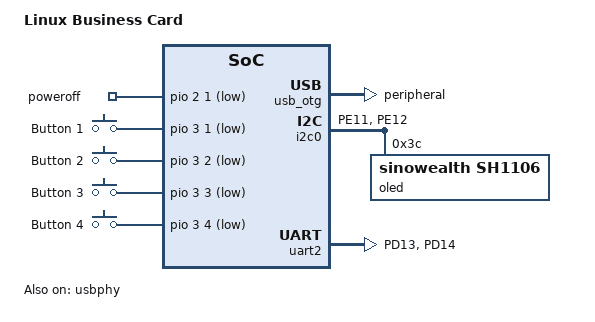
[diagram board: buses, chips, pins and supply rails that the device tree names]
// SPDX-License-Identifier: (GPL-2.0+ OR X11)
// Board-specific overrides for the upstream Linux 6.18 F1C100S Nano DTS.
/*
 * Copyright 2018 Icenowy Zheng <icenowy@aosc.io>
 */

/dts-v1/;
#include "allwinner/suniv-f1c100s-licheepi-nano.dts"
#include <dt-bindings/gpio/gpio.h>
#include <dt-bindings/input/input.h>

/ {
	model = "Linux Business Card";

	/*
	 * PC1 (F1C physical pin 60) is the power-hold signal. The gpio-poweroff
	 * driver requests logical inactive at probe; with ACTIVE_LOW this keeps
	 * the physical line HIGH during normal runtime and drives it LOW on
	 * final poweroff.
	 */
	poweroff {
		compatible = "gpio-poweroff";
		gpios = <&pio 2 1 GPIO_ACTIVE_LOW>; /* PC1 */
	};

	gpio_keys {
		compatible = "gpio-keys";
		pinctrl-names = "default";
		/* Configure the unclaimed ESP reset line as input at boot too. */
		pinctrl-0 = <&esp_reset_pd15>;

		button-1 {
			label = "Button 1";
			linux,code = <KEY_F1>;
			gpios = <&pio 3 1 GPIO_ACTIVE_LOW>; /* PD1 */
			debounce-interval = <20>;
		};

		button-2 {
			label = "Button 2";
			linux,code = <KEY_F2>;
			gpios = <&pio 3 2 GPIO_ACTIVE_LOW>; /* PD2 */
			debounce-interval = <20>;
		};

		button-3 {
			label = "Button 3";
			linux,code = <KEY_F3>;
			gpios = <&pio 3 3 GPIO_ACTIVE_LOW>; /* PD3 */
			debounce-interval = <20>;
		};

		button-4 {
			label = "Button 4";
			linux,code = <KEY_F4>;
			gpios = <&pio 3 4 GPIO_ACTIVE_LOW>; /* PD4 */
			debounce-interval = <20>;
		};
	};

};

&usb_otg {
	dr_mode = "peripheral";
	status = "okay";
};

&usbphy {
	/delete-property/ usb0_id_det-gpios;
	status = "okay";
};

/* The handheld boots from SD and does not use the inherited W25Q128 SPI flash. */
&spi0 {
	status = "disabled";
};

&pio {
	i2c0_pe_pins: i2c0-pe-pins {
		pins = "PE11", "PE12";
		function = "i2c0";
	};

	uart2_pd_pins: uart2-pd-pins {
		pins = "PD13", "PD14";
		function = "uart2";
	};

	esp_reset_pd15: esp-reset-pd15 {
		pins = "PD15";
		function = "gpio_in";
		bias-disable;
	};

};

/* TWI0 uses PE11/PE12 for the userspace TCA9535 at address 0x20. */
&i2c0 {
	pinctrl-names = "default";
	pinctrl-0 = <&i2c0_pe_pins>;
	status = "okay";

	/* XFP1116-07A: the SH1106 exposes 132 RAM columns, but this module
	 * exposes the centered 128 columns starting at controller column 2. */
	oled@3c {
		compatible = "sinowealth,sh1106";
		reg = <0x3c>;
		solomon,width = <128>;
		solomon,height = <64>;
		solomon,col-offset = <2>;
	};
};

&uart2 {
	pinctrl-names = "default";
	pinctrl-0 = <&uart2_pd_pins>;
	status = "okay";
};

&{/aliases} {
	serial2 = &uart2;
};

/*
&panel {
	// override default resolution (800x480) with smaller resolution: 480x272
	compatible = "qiaodian,qd43003c0-40", "simple-panel";
};
*/

/*
&lradc {
	// keymap for low-resolution ADC input driver
	// (pulling voltage down to different levels 0V-2V on LRADC pin causes this to emit different
	// keyboard codes - pull pin back up to 3.3V when button is off)
	button-200 {
		label = "Volume Up";
		linux,code = <KEY_VOLUMEUP>;
		channel = <0>;
		voltage = <200000>;
	};

	button-400 {
		label = "Volume Down";
		linux,code = <KEY_VOLUMEDOWN>;
		channel = <0>;
		voltage = <400000>;
	};

	button-600 {
		label = "Select";
		linux,code = <KEY_SELECT>;
		channel = <0>;
		voltage = <600000>;
	};

	button-800 {
		label = "Start";
		linux,code = <KEY_OK>;
		channel = <0>;
		voltage = <800000>;
	};
};
*/

/*
&flash {
	// hard-coded partition table for booting from Flash
	partitions {
		compatible = "fixed-partitions";
		#address-cells = <1>;
		#size-cells = <1>;

		partition@0 {
			label = "u-boot";
			reg = <0x000000 0x100000>;
			read-only;
		};

		partition@100000 {
			label = "dtb";
			reg = <0x100000 0x10000>;
			read-only;
		};

		partition@110000 {
			label = "kernel";
			reg = <0x110000 0x400000>;
			read-only;
		};

		partition@520000 {
			label = "rootfs";
			reg = <0x510000 0xAF0000>;
		};
	};
};
*/
